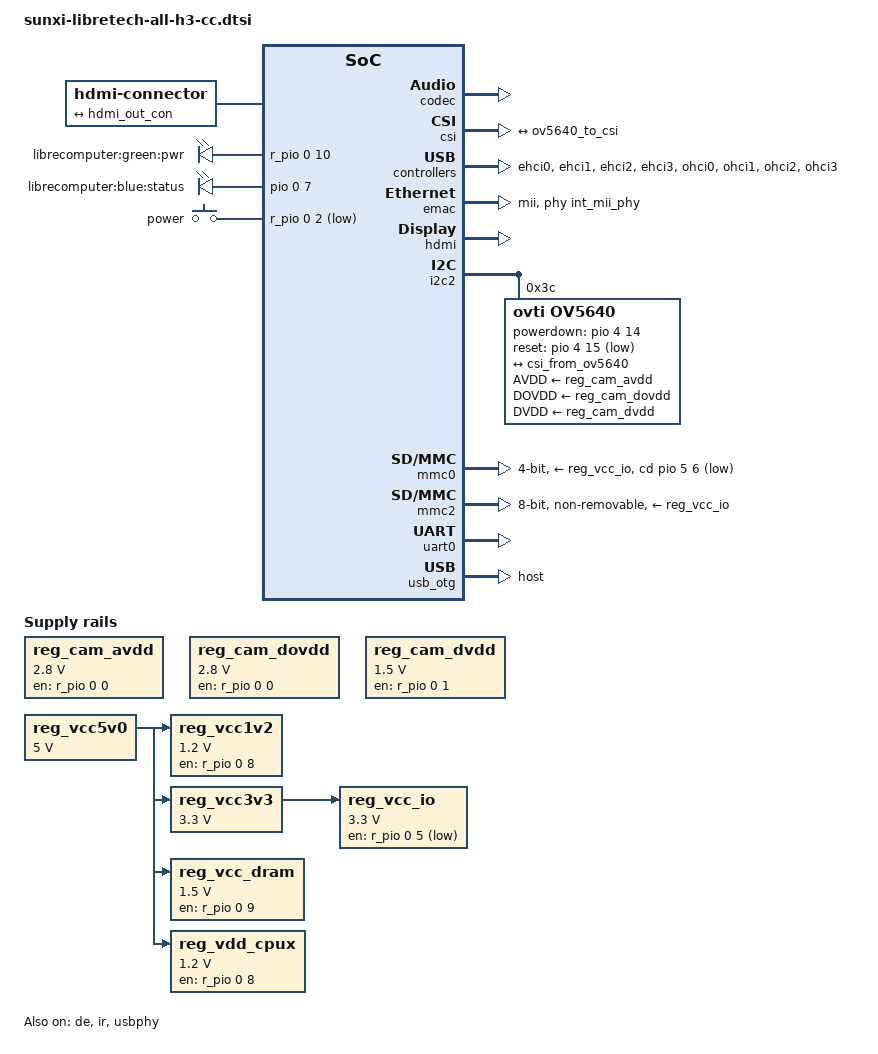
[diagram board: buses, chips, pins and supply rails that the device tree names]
// SPDX-License-Identifier: (GPL-2.0+ OR MIT)
/*
 * Copyright (C) 2017 Chen-Yu Tsai <wens@csie.org>
 */

#include <dt-bindings/gpio/gpio.h>
#include <dt-bindings/input/input.h>

/ {
	aliases {
		ethernet0 = &emac;
		serial0 = &uart0;
	};

	chosen {
		stdout-path = "serial0:115200n8";
	};

	connector {
		compatible = "hdmi-connector";
		type = "a";

		port {
			hdmi_con_in: endpoint {
				remote-endpoint = <&hdmi_out_con>;
			};
		};
	};

	leds {
		compatible = "gpio-leds";

		pwr_led {
			label = "librecomputer:green:pwr";
			gpios = <&r_pio 0 10 GPIO_ACTIVE_HIGH>; /* PL10 */
			default-state = "on";
		};

		status_led {
			label = "librecomputer:blue:status";
			gpios = <&pio 0 7 GPIO_ACTIVE_HIGH>; /* PA7 */
		};
	};

	gpio_keys {
		compatible = "gpio-keys";

		power {
			label = "power";
			linux,code = <KEY_POWER>;
			gpios = <&r_pio 0 2 GPIO_ACTIVE_LOW>; /* PL2 */
		};
	};

	reg_cam_avdd: cam-avdd {
		compatible = "regulator-fixed";
		regulator-name = "csi-avdd";
		regulator-min-microvolt = <2800000>;
		regulator-max-microvolt = <2800000>;
		startup-delay-us = <200>; /* 50 us + board delays */
		enable-active-high;
		gpio = <&r_pio 0 0 GPIO_ACTIVE_HIGH>; /* PL0 */
	};

	reg_cam_dovdd: cam-dovdd {
		compatible = "regulator-fixed";
		regulator-name = "csi-dovdd";
		regulator-min-microvolt = <2800000>;
		regulator-max-microvolt = <2800000>;
		startup-delay-us = <200>; /* 50 us + board delays */
		enable-active-high;
		gpio = <&r_pio 0 0 GPIO_ACTIVE_HIGH>; /* PL0 */
	};

	reg_cam_dvdd: cam-dvdd {
		compatible = "regulator-fixed";
		regulator-name = "csi-dvdd";
		regulator-min-microvolt = <1500000>;
		regulator-max-microvolt = <1500000>;
		startup-delay-us = <200>; /* 50 us + board delays */
		enable-active-high;
		gpio = <&r_pio 0 1 GPIO_ACTIVE_HIGH>; /* PL1 */
	};

	reg_vcc1v2: vcc1v2 {
		compatible = "regulator-fixed";
		regulator-name = "vcc1v2";
		regulator-min-microvolt = <1200000>;
		regulator-max-microvolt = <1200000>;
		regulator-always-on;
		regulator-boot-on;
		vin-supply = <&reg_vcc5v0>;
		gpio = <&r_pio 0 8 GPIO_ACTIVE_HIGH>; /* PL8 */
		enable-active-high;
	};

	reg_vcc3v3: vcc3v3 {
		compatible = "regulator-fixed";
		regulator-name = "vcc3v3";
		regulator-min-microvolt = <3300000>;
		regulator-max-microvolt = <3300000>;
		vin-supply = <&reg_vcc5v0>;
	};

	/* This represents the board's 5V input */
	reg_vcc5v0: vcc5v0 {
		compatible = "regulator-fixed";
		regulator-name = "vcc5v0";
		regulator-min-microvolt = <5000000>;
		regulator-max-microvolt = <5000000>;
	};

	reg_vcc_dram: vcc-dram {
		compatible = "regulator-fixed";
		regulator-name = "vcc-dram";
		regulator-min-microvolt = <1500000>;
		regulator-max-microvolt = <1500000>;
		regulator-always-on;
		regulator-boot-on;
		vin-supply = <&reg_vcc5v0>;
		gpio = <&r_pio 0 9 GPIO_ACTIVE_HIGH>; /* PL9 */
		enable-active-high;
	};

	reg_vcc_io: vcc-io {
		compatible = "regulator-fixed";
		regulator-name = "vcc-io";
		regulator-min-microvolt = <3300000>;
		regulator-max-microvolt = <3300000>;
		regulator-always-on;
		regulator-boot-on;
		vin-supply = <&reg_vcc3v3>;
		gpio = <&r_pio 0 5 GPIO_ACTIVE_LOW>; /* PL5 */
	};

	reg_vdd_cpux: vdd-cpux {
		compatible = "regulator-fixed";
		regulator-name = "vdd-cpux";
		regulator-min-microvolt = <1200000>;
		regulator-max-microvolt = <1200000>;
		regulator-always-on;
		regulator-boot-on;
		vin-supply = <&reg_vcc5v0>;
		gpio = <&r_pio 0 8 GPIO_ACTIVE_HIGH>; /* PL8 */
		enable-active-high;
	};
};

&codec {
	allwinner,audio-routing =
		"Line Out", "LINEOUT",
		"MIC1", "Mic",
		"Mic",  "MBIAS";
	status = "okay";
};

&cpu0 {
	cpu-supply = <&reg_vdd_cpux>;
};

&csi {
	status = "okay";

	port {
		#address-cells = <1>;
		#size-cells = <0>;

		/* Parallel bus endpoint */
		csi_from_ov5640: endpoint {
			remote-endpoint = <&ov5640_to_csi>;
			bus-width = <8>;
			hsync-active = <1>; /* Active high */
			vsync-active = <0>; /* Active low */
			data-active = <1>;  /* Active high */
			pclk-sample = <1>;  /* Rising */
		};
	};
};

&de {
	status = "okay";
};

&ehci0 {
	status = "okay";
};

&ehci1 {
	status = "okay";
};

&ehci2 {
	status = "okay";
};

&ehci3 {
	status = "okay";
};

&emac {
	phy-handle = <&int_mii_phy>;
	phy-mode = "mii";
	allwinner,leds-active-low;
	status = "okay";
};

&hdmi {
	status = "okay";
};

&hdmi_out {
	hdmi_out_con: endpoint {
		remote-endpoint = <&hdmi_con_in>;
	};
};

&i2c2 {
	status = "okay";

	ov5640: camera@3c {
		compatible = "ovti,ov5640";
		reg = <0x3c>;
		pinctrl-names = "default";
		pinctrl-0 = <&csi_mclk_pin>;
		clocks = <&ccu CLK_CSI_MCLK>;
		clock-names = "xclk";

		powerdown-gpios = <&pio 4 14 GPIO_ACTIVE_HIGH>; /* PE14 */
		reset-gpios = <&pio 4 15 GPIO_ACTIVE_LOW>; /* PE15 */
		AVDD-supply = <&reg_cam_avdd>;
		DOVDD-supply = <&reg_cam_dovdd>;
		DVDD-supply = <&reg_cam_dvdd>;

		port {
			ov5640_to_csi: endpoint {
				remote-endpoint = <&csi_from_ov5640>;
				bus-width = <8>;
				data-shift = <2>;
				hsync-active = <1>; /* Active high */
				vsync-active = <0>; /* Active low */
				data-active = <1>;  /* Active high */
				pclk-sample = <1>;  /* Rising */
			};
		};
	};
};

&ir {
	pinctrl-names = "default";
	pinctrl-0 = <&ir_pins_a>;
	status = "okay";
};

&mmc0 {
	vmmc-supply = <&reg_vcc_io>;
	bus-width = <4>;
	cd-gpios = <&pio 5 6 GPIO_ACTIVE_LOW>; /* PF6 */
	status = "okay";
};

&mmc2 {
	pinctrl-names = "default";
	pinctrl-0 = <&mmc2_8bit_pins>;
	vmmc-supply = <&reg_vcc_io>;
	bus-width = <8>;
	non-removable;
	status = "okay";
};

&ohci0 {
	status = "okay";
};

&ohci1 {
	status = "okay";
};

&ohci2 {
	status = "okay";
};

&ohci3 {
	status = "okay";
};

&uart0 {
	pinctrl-names = "default";
	pinctrl-0 = <&uart0_pins_a>;
	status = "okay";
};

&usb_otg {
	dr_mode = "host";
	status = "okay";
};

&usbphy {
	/* VBUS on USB ports are always on */
	usb0_vbus-supply = <&reg_vcc5v0>;
	usb1_vbus-supply = <&reg_vcc5v0>;
	usb2_vbus-supply = <&reg_vcc5v0>;
	usb3_vbus-supply = <&reg_vcc5v0>;
	status = "okay";
};
